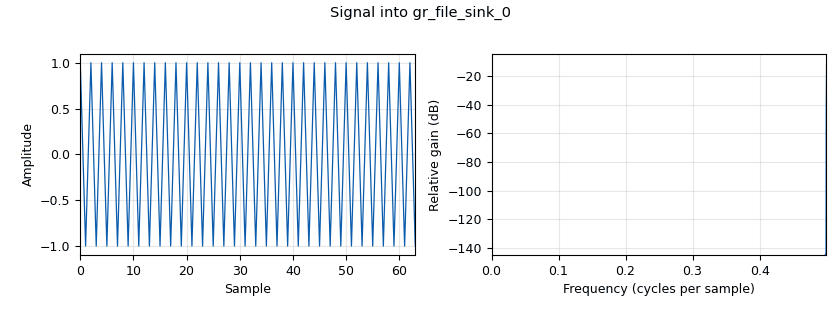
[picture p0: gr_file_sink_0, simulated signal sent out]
<?xml version='1.0' encoding='utf-8'?>
<flow_graph>
<block>
<key>options</key>
<param><key>id</key><value>top_block</value></param>
<param><key>title</key><value>untitled</value></param>
<param><key>author</key><value>unknown</value></param>
<param><key>description</key><value>gnuradio flow graph</value></param>
<param><key>generate_options</key><value>no_gui</value></param>
<param><key>category</key><value>Custom</value></param>
</block>
<block>
<key>variable</key>
<param><key>id</key><value>samp_rate</value></param>
<param><key>value</key><value>32e3</value></param>
</block>
<block>
<key>gr_file_sink</key>
<param><key>id</key><value>gr_file_sink_0</value></param>
<param><key>file</key><value>/home/sab/Desktop/Crap.dat</value></param>
<param><key>type</key><value>float</value></param>
<param><key>vlen</key><value>1</value></param>
</block>
<block>
<key>gr_sig_source_x</key>
<param><key>id</key><value>gr_sig_source_x_0</value></param>
<param><key>type</key><value>float</value></param>
<param><key>samp_rate</key><value>2*440e6</value></param>
<param><key>waveform</key><value>gr.GR_COS_WAVE</value></param>
<param><key>freq</key><value>440e6</value></param>
<param><key>amp</key><value>1</value></param>
<param><key>offset</key><value>0</value></param>
</block>
<block>
<key>gr_throttle</key>
<param><key>id</key><value>gr_throttle_0</value></param>
<param><key>type</key><value>float</value></param>
<param><key>samples_per_second</key><value>2*440e6</value></param>
<param><key>vlen</key><value>1</value></param>
</block>
<connection><source_block_id>gr_throttle_0</source_block_id><sink_block_id>gr_file_sink_0</sink_block_id><source_key>0</source_key><sink_key>0</sink_key></connection>
<connection><source_block_id>gr_sig_source_x_0</source_block_id><sink_block_id>gr_throttle_0</sink_block_id><source_key>0</source_key><sink_key>0</sink_key></connection>
</flow_graph>
